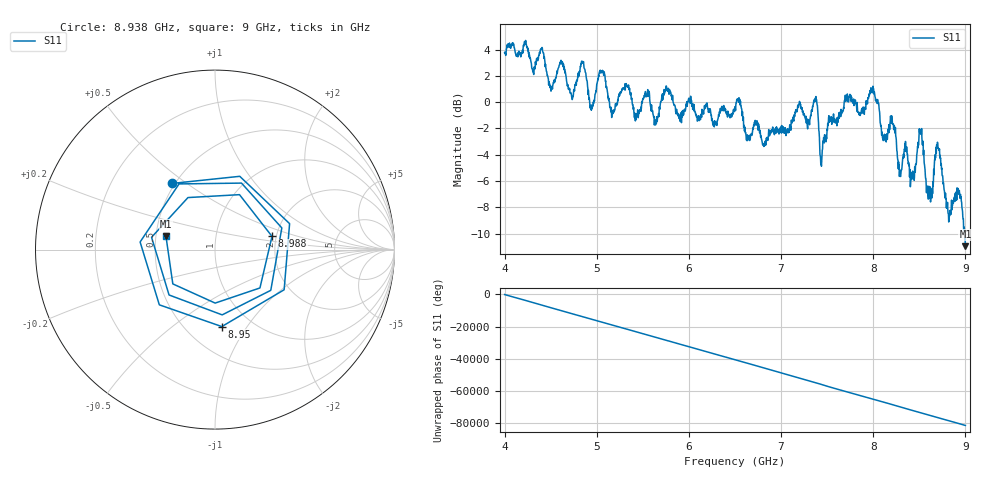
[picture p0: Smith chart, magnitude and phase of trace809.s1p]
! Created with skrf 1.8.0 (http://scikit-rf.org).
# Hz S RI R 50.0
!freq ReS11 ImS11
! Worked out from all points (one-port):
!   1601 points, 4 GHz to 9 GHz, reference 50 ohm
!   lowest |S11| = -11.0 dB at 9 GHz (marker M1), VSWR 1.79, Z = 28.3 + j4.56 ohm
!   |S11| at or under -10 dB: 8.992211 GHz to end of sweep
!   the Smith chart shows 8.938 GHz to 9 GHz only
!   S11 on the Smith chart (normalised r, x): 8.938 GHz: 0.48, +0.44; 8.95 GHz: 0.73, -0.77; 8.988 GHz: 1.90, +0.31; 9 GHz: 0.57, +0.09
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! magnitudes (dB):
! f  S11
! 4 GHz  3.8
! 4.625 GHz  2.9
! 4.734 GHz  0.2
! 4.853 GHz  3.0
! 4.941 GHz  -0.6
! 5.047 GHz  2.2
! 5.25 GHz  0.5
! 5.875 GHz  -0.8
! 6.5 GHz  -0.3
! 6.812 GHz  -3.4
! 7.125 GHz  -1.4
! 7.372 GHz  0.3
! 7.444 GHz  -4.3
! 7.75 GHz  0.5
! 7.991 GHz  0.7
! 8.116 GHz  -2.8
! 8.216 GHz  -1.7
! 8.288 GHz  -5.2
! 8.375 GHz  -4.4
! 8.428 GHz  -5.2
! 8.516 GHz  -2.2
! 8.6 GHz  -7.3
! 8.697 GHz  -3.0
! 8.819 GHz  -9.1
! 8.938 GHz  -7.1
! 8.95 GHz  -7.3
! 8.988 GHz  -9.7
! 9 GHz  -11.0
